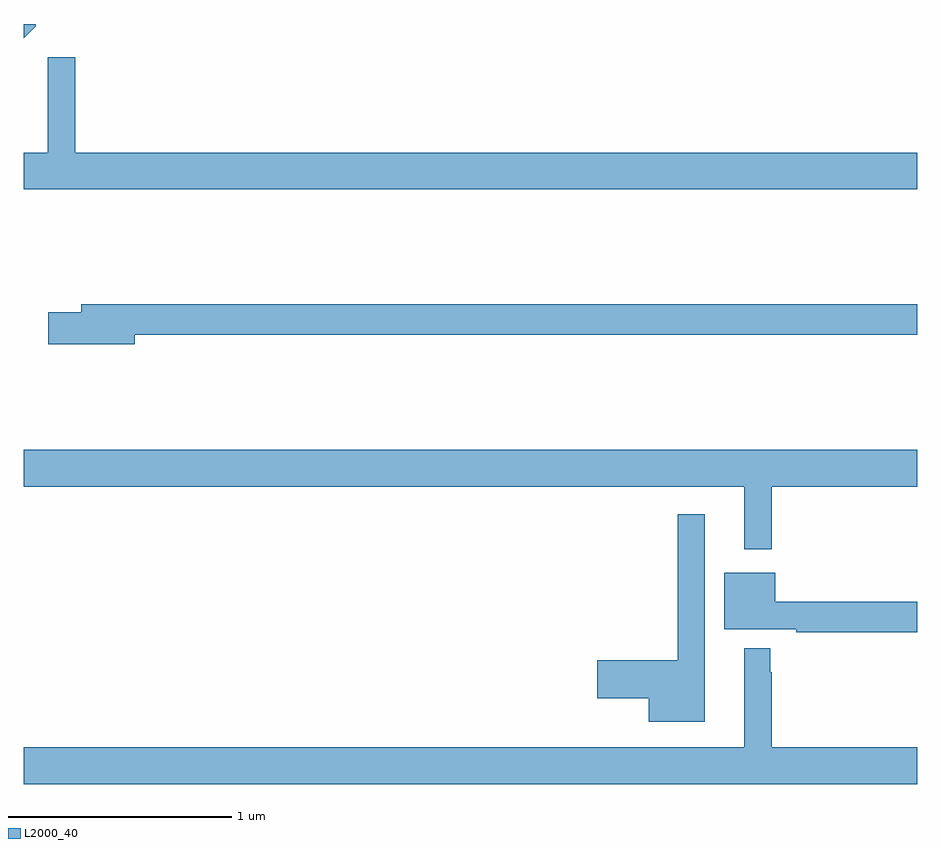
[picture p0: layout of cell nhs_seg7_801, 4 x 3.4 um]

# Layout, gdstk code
import gdstk
lib = gdstk.Library(unit=1e-6, precision=1e-09)
def P(c, l, *ps):  # polygons
    for p in ps: c.add(gdstk.Polygon(p, *l))
L2000_40 = (2000, 40)

nhs_seg7_801 = lib.new_cell('nhs_seg7_801')
P(nhs_seg7_801, L2000_40, [(171.053,1023.99),(171.053,1024),(171,1024),(171,1023.937)],
  [(175,1023.424),(171.23,1023.424),(171.23,1023.85),(171.107,1023.85),(171.107,1023.424),(171,1023.424),(171,1023.26),(175,1023.26)],
  [(171.496,1022.608),(175,1022.608),(175,1022.744),(171.257,1022.744),(171.257,1022.708),(171.108,1022.708),(171.108,1022.566),(171.496,1022.566)],
  [(174.349,1021.928),(175,1021.928),(175,1022.092),(171,1022.092),(171,1021.928),(174.227,1021.928),(174.227,1021.647),(174.349,1021.647)],
  [(174.049,1021.804),(173.928,1021.804),(173.928,1021.151),(173.568,1021.151),(173.568,1020.98),(173.798,1020.98),(173.798,1020.875),(174.049,1020.875)],
  [(175,1021.412),(174.364,1021.412),(174.364,1021.543),(174.137,1021.543),(174.137,1021.289),(174.46,1021.289),(174.46,1021.276),(175,1021.276)],
  [(175,1020.76),(174.349,1020.76),(174.349,1021.097),(174.342,1021.097),(174.342,1021.204),(174.227,1021.204),(174.227,1020.76),(171,1020.76),(171,1020.596),(175,1020.596)])

lib.write_gds('nhs_seg7_801.gds')
